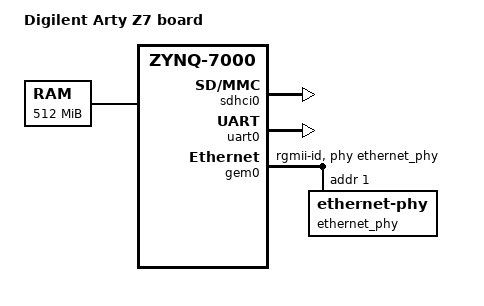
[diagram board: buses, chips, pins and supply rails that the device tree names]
// SPDX-License-Identifier: GPL-2.0+
/*
 * Digilent Arty Z7-10 (xc7z010clg400-1)
 *
 * PS7 config matches Digilent's official Vivado board preset
 * (arty-z7-10/A.0/preset.xml): DDR3 MT41J256M16 (512MB, 16-bit bus),
 * UART0 on MIO 14..15, SD0 on MIO 40..45 with card detect on MIO 47,
 * ENET0/GEM0 via RGMII to an onboard Realtek RTL8211E-VL PHY (MDIO address
 * 1 per the Arty Z7 Reference Manual sec. 9; PHYRSTB on MIO9, INTB on MIO10
 * -- INTB left unconnected here, phylib polls instead of using an irq).
 */
/dts-v1/;
#include "zynq-7000.dtsi"
#include <dt-bindings/gpio/gpio.h>

/ {
	model = "Digilent Arty Z7 board";
	compatible = "digilentinc,zynq-arty-z7", "xlnx,zynq-7000";

	aliases {
		serial0 = &uart0;
		mmc0 = &sdhci0;
		ethernet0 = &gem0;
	};

	memory@0 {
		device_type = "memory";
		reg = <0x0 0x20000000>;
	};

	chosen {
		bootargs = "";
		stdout-path = "serial0:115200n8";
	};
};

&clkc {
	/*
	 * The Arty Z7 feeds PS_CLK from a 50 MHz oscillator (Digilent Arty Z7
	 * Reference Manual, "Clock Sources"), not the 33.333 MHz assumed by
	 * the upstream zynq-7000.dtsi default / other boards' overlays. Getting
	 * this wrong doesn't stop the board from booting, but it makes U-Boot
	 * (and the kernel) miscompute every PLL-derived clock from the live
	 * SLCR registers, including the UART reference clock -- which garbles
	 * the serial console the moment U-Boot reprograms the baud generator,
	 * even though the FSBL's own ps7_init-programmed UART divisors (which
	 * don't depend on this property) were already correct.
	 */
	ps-clk-frequency = <50000000>;
};

&sdhci0 {
	bootph-all;
	status = "okay";
};

&uart0 {
	bootph-all;
	status = "okay";
};

&gem0 {
	status = "okay";
	phy-mode = "rgmii-id";
	phy-handle = <&ethernet_phy>;

	/*
	 * No reset-gpios here (unlike the kernel dts) -- U-Boot's zynq_gem
	 * driver uses the legacy phy_connect()/phy_config() API and never
	 * calls phy_gpio_reset() or binds the DM_ETH_PHY uclass, so it can't
	 * actually drive PHYRSTB regardless of what's declared here. If the
	 * PHY is still held in reset from a previous stage, expect U-Boot's
	 * own "No ethernet found" to persist -- Linux's generic phylib reset
	 * handling (see kernel dts) does its own independent reset cycle and
	 * doesn't depend on U-Boot having brought the link up first.
	 */
	ethernet_phy: ethernet-phy@1 {
		reg = <1>;
	};
};
